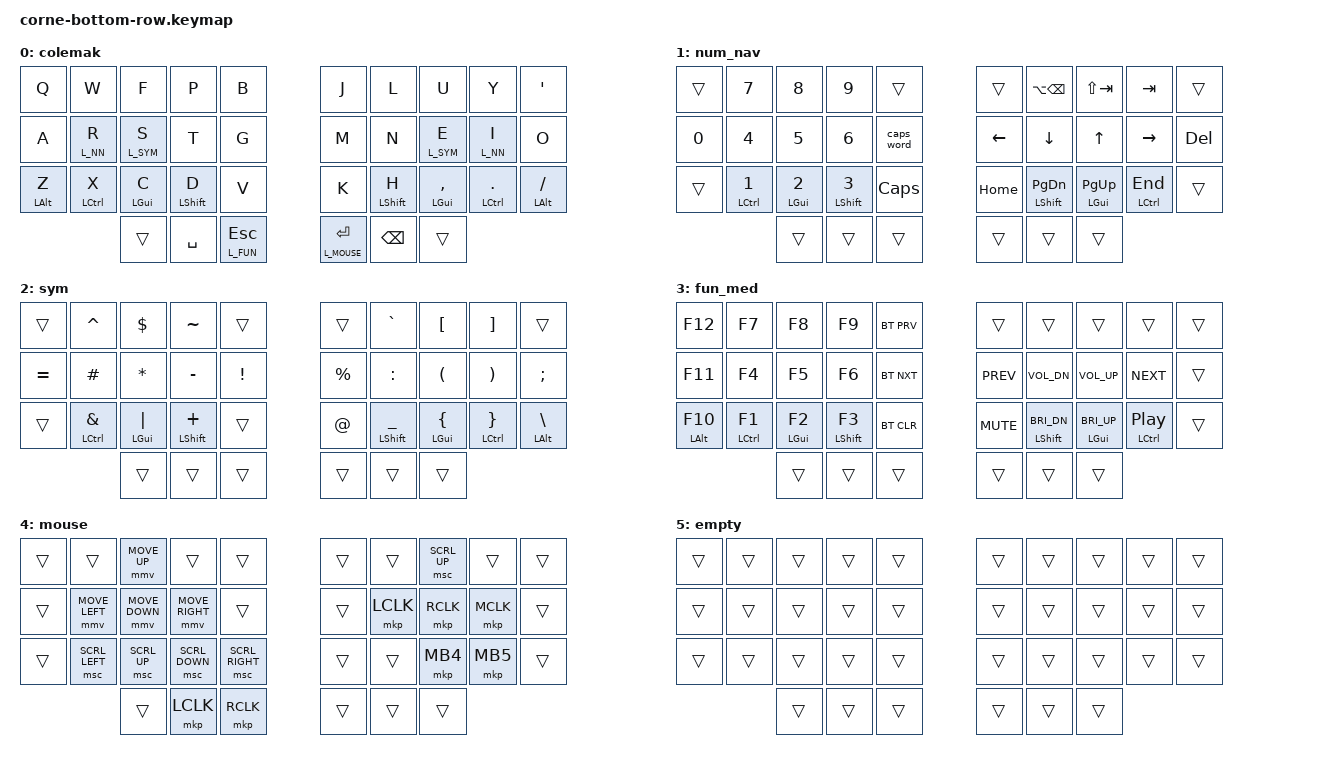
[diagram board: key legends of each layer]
#define ZMK_POINTING_DEFAULT_MOVE_VAL 1500 // 600
#define ZMK_POINTING_DEFAULT_SCRL_VAL 30 // 10

#define ___ &trans

#define L_NN 1
#define L_SYM 2
#define L_FUN 3
#define L_MOUSE 4

#define CK_COMBO_TIMEOUT 35
#define CK_PRIOR_IDLE 125
#define CK_TAPPING_TERM 200
#define CK_QUICK_TAP 200

#define CK_LEFT_HAND_KEYS 0 1 2 3 4 10 11 12 13 14 20 21 22 23 24 30 31 32
#define CK_RIGHT_HAND_KEYS 5 6 7 8 9 15 16 17 18 19 25 26 27 28 29 33 34 35

#include <behaviors.dtsi>
#include <dt-bindings/zmk/keys.h>
#include <dt-bindings/zmk/bt.h>

#include <dt-bindings/zmk/pointing.h>
#include <input/processors.dtsi>

/ {
    chosen {
        zmk,physical-layout = &foostan_corne_5col_layout;
    };

    behaviors {
        tl: thumb_layer {
            compatible = "zmk,behavior-hold-tap";
            flavor = "balanced";
            bindings = <&mo>, <&kp>;
            #binding-cells = <2>;
            tapping-term-ms = <CK_TAPPING_TERM>;
            quick-tap-ms = <CK_QUICK_TAP>;
        };

        // tm: thumb_mod {
        //     compatible = "zmk,behavior-hold-tap";
        //     flavor = "balanced";
        //     bindings = <&kp>, <&kp>;
        //     #binding-cells = <2>;
        //     tapping-term-ms = <CK_TAPPING_TERM>;
        //     quick-tap-ms = <CK_QUICK_TAP>;
        // };

        lm: left_mod {
            compatible = "zmk,behavior-hold-tap";
            flavor = "balanced";
            bindings = <&kp>, <&kp>;
            #binding-cells = <2>;
            tapping-term-ms = <CK_TAPPING_TERM>;
            quick-tap-ms = <CK_QUICK_TAP>;
            require-prior-idle-ms = <CK_PRIOR_IDLE>;
            hold-trigger-key-positions = <CK_RIGHT_HAND_KEYS>;
            hold-trigger-on-release;
        };

        rm: right_mod {
            compatible = "zmk,behavior-hold-tap";
            flavor = "balanced";
            bindings = <&kp>, <&kp>;
            #binding-cells = <2>;
            tapping-term-ms = <CK_TAPPING_TERM>;
            quick-tap-ms = <CK_QUICK_TAP>;
            require-prior-idle-ms = <CK_PRIOR_IDLE>;
            hold-trigger-key-positions = <CK_LEFT_HAND_KEYS>;
            hold-trigger-on-release;
        };

        lm_fast: left_mod_fast {
            compatible = "zmk,behavior-hold-tap";
            flavor = "balanced";
            bindings = <&kp>, <&kp>;
            #binding-cells = <2>;
            tapping-term-ms = <CK_TAPPING_TERM>;
            hold-trigger-key-positions = <CK_RIGHT_HAND_KEYS>;
            hold-trigger-on-release;
        };

        rm_fast: right_mod_fast {
            compatible = "zmk,behavior-hold-tap";
            flavor = "balanced";
            bindings = <&kp>, <&kp>;
            #binding-cells = <2>;
            tapping-term-ms = <CK_TAPPING_TERM>;
            hold-trigger-key-positions = <CK_LEFT_HAND_KEYS>;
            hold-trigger-on-release;
        };

        ll: left_layer {
            compatible = "zmk,behavior-hold-tap";
            flavor = "balanced";
            bindings = <&mo>, <&kp>;
            #binding-cells = <2>;
            tapping-term-ms = <CK_TAPPING_TERM>;
            quick-tap-ms = <CK_QUICK_TAP>;
            require-prior-idle-ms = <CK_PRIOR_IDLE>;
            hold-trigger-key-positions = <CK_RIGHT_HAND_KEYS>;
            hold-trigger-on-release;
        };

        rl: right_layer {
            compatible = "zmk,behavior-hold-tap";
            flavor = "balanced";
            bindings = <&mo>, <&kp>;
            #binding-cells = <2>;
            tapping-term-ms = <CK_TAPPING_TERM>;
            quick-tap-ms = <CK_QUICK_TAP>;
            require-prior-idle-ms = <CK_PRIOR_IDLE>;
            hold-trigger-key-positions = <CK_LEFT_HAND_KEYS>;
            hold-trigger-on-release;
        };

        ll_fast: left_layer_fast {
            compatible = "zmk,behavior-hold-tap";
            flavor = "balanced";
            bindings = <&mo>, <&kp>;
            #binding-cells = <2>;
            tapping-term-ms = <CK_TAPPING_TERM>;
            hold-trigger-key-positions = <CK_RIGHT_HAND_KEYS>;
            hold-trigger-on-release;
        };

        rl_fast: right_layer_fast {
            compatible = "zmk,behavior-hold-tap";
            flavor = "balanced";
            bindings = <&mo>, <&kp>;
            #binding-cells = <2>;
            tapping-term-ms = <CK_TAPPING_TERM>;
            hold-trigger-key-positions = <CK_LEFT_HAND_KEYS>;
            hold-trigger-on-release;
        };
    };

    keymap {
        compatible = "zmk,keymap";

        colemak {
            bindings = <
&kp Q               &kp W               &kp F               &kp P               &kp B               &kp J               &kp L               &kp U               &kp Y               &kp SQT
&kp A               &ll_fast L_NN R     &ll_fast L_SYM S    &kp T               &kp G               &kp M               &kp N               &rl_fast L_SYM E    &rl_fast L_NN I     &kp O
&lm LALT Z          &lm LCTRL X         &lm LGUI C          &lm_fast LSHIFT D   &kp V               &kp K               &rm_fast LSHIFT H   &rm LGUI COMMA      &rm LCTRL DOT       &rm LALT FSLH
                                        ___                 &kp SPACE           &tl L_FUN ESC       &tl L_MOUSE RET     &kp BSPC            ___
            >;
        };

        num_nav {
            bindings = <
___                 &kp N7              &kp N8              &kp N9              ___                 ___                 &kp LA(BSPC)        &kp LS(TAB)         &kp TAB             ___
&kp N0              &kp N4              &kp N5              &kp N6              &caps_word          &kp LEFT            &kp DOWN            &kp UP              &kp RIGHT           &kp DEL
___                 &lm LCTRL N1        &lm LGUI N2         &lm LSHIFT N3       &kp CAPS            &kp HOME            &rm LSHIFT PG_DN    &rm LGUI PG_UP      &rm LCTRL END       ___
                                        ___                 ___                 ___                 ___                 ___                 ___
            >;
        };

        sym {
            bindings = <
___                 &kp CARET           &kp DLLR            &kp TILDE           ___                 ___                 &kp GRAVE           &kp LBKT            &kp RBKT            ___
&kp EQUAL           &kp HASH            &kp STAR            &kp MINUS           &kp EXCL            &kp PRCNT           &kp COLON           &kp LPAR            &kp RPAR            &kp SEMI
___                 &lm LCTRL AMPS      &lm LGUI PIPE       &lm LSHIFT PLUS     ___                 &kp AT              &rm LSHIFT UNDER    &rm LGUI LBRC       &rm LCTRL RBRC      &rm LALT BSLH
                                        ___                 ___                 ___                 ___                 ___                 ___
            >;
        };

        fun_med {
            bindings = <
&kp F12             &kp F7              &kp F8              &kp F9              &bt BT_PRV          ___                 ___                 ___                 ___                 ___
&kp F11             &kp F4              &kp F5              &kp F6              &bt BT_NXT          &kp C_PREV          &kp C_VOL_DN        &kp C_VOL_UP        &kp C_NEXT          ___
&lm LALT F10        &lm LCTRL F1        &lm LGUI F2         &lm LSHIFT F3       &bt BT_CLR          &kp C_MUTE          &rm LSHIFT C_BRI_DN &rm LGUI C_BRI_UP   &rm LCTRL C_PP      ___
                                        ___                 ___                 ___                 ___                 ___                 ___
            >;
        };

        mouse {
            bindings = <
___                 ___                 &mmv MOVE_UP        ___                 ___                 ___                 ___                 &msc SCRL_UP        ___                 ___
___                 &mmv MOVE_LEFT      &mmv MOVE_DOWN      &mmv MOVE_RIGHT     ___                 ___                 &mkp LCLK           &mkp RCLK           &mkp MCLK           ___
___                 &msc SCRL_LEFT      &msc SCRL_UP        &msc SCRL_DOWN      &msc SCRL_RIGHT     ___                 ___                 &mkp MB4            &mkp MB5            ___
                                        ___                 &mkp LCLK           &mkp RCLK           ___                 ___                 ___
            >;
        };

        empty {
            bindings = <
___                 ___                 ___                 ___                 ___                 ___                 ___                 ___                 ___                 ___
___                 ___                 ___                 ___                 ___                 ___                 ___                 ___                 ___                 ___
___                 ___                 ___                 ___                 ___                 ___                 ___                 ___                 ___                 ___
                                        ___                 ___                 ___                 ___                 ___                 ___
            >;
        };
    };
};
